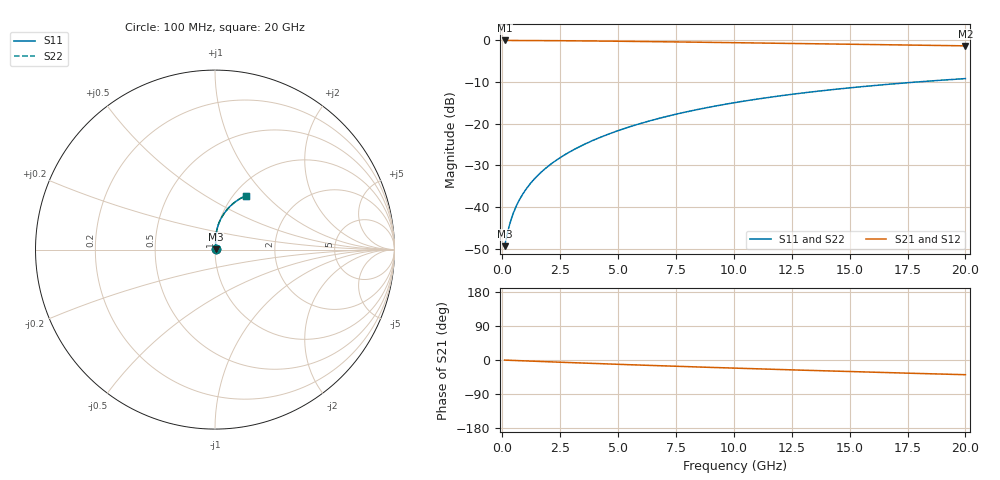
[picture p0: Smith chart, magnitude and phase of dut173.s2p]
! Touchstone file exported from HFSS 2024.1.0
!  File:  C:/UserFiles/LocalFiles/RDL_TSV_Batchsim/temp_RDL_top_173_1778685935.aedt
!  Generated:  11:28:04 PM May 13, 2026
!  Design:  RDL_top
!  Project:  temp_RDL_top_173_1778685935
!  Setup:  Setup1
!  Solution:  Sweep
! Variables:
!  dtsv = 10.80580581um
!  hbump = 3um
!  htsv = 99.63um
!  ldown = 100um
!  lrdl = 521.17um
!  p = 40
!  p1 = 57.31um
!  rhole = 1um
!  t = 450um
!  tdown = 3.915915916um
!  trdl = 2.65um
!  wdown = 15.38538539um
!  wrdl = 26.73um
# GHz S MA R 50.000000
! Terminal data exported
! Port[1] = Box2_T1
! Port[2] = Box2_T2
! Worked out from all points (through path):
!   200 points, 100 MHz to 20 GHz, reference 50 ohm
!   highest |S21| = -0.03 dB at 100 MHz (marker M1); lowest = -1.3 dB at 20 GHz (marker M2)
!   group delay of S21, straight-line fit = 5.34 ps
!   lowest |S11| = -49.4 dB at 100 MHz (marker M3), VSWR 1.01, Z = 50.3 + j0.174 ohm
!   |S11| at or under -10 dB: start of sweep to 17.89 GHz
!   |S22| runs from -49.4 to -9.2 dB; largest |S21 - S12| = 3.2e-15
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0.1  0.003387 30.7  0.9971 -0.2  0.9971 -0.2  0.003387 30.7
! Gamma 0 0 0 0
! Port Impedance 50 0 50 0
0.2  0.004558 48.3  0.9969 -0.5  0.9969 -0.5  0.004558 48.3
0.3  0.005932 57.7  0.9967 -0.7  0.9967 -0.7  0.005932 57.7
0.4  0.007349 63.3  0.9965 -1.0  0.9965 -1.0  0.007349 63.3
0.5  0.008771 67.1  0.9963 -1.2  0.9963 -1.2  0.008771 67.1
0.6  0.01019 70.0  0.9961 -1.5  0.9961 -1.5  0.01019 70.0
0.8  0.01306 74.0  0.9957 -1.9  0.9957 -1.9  0.01306 74.0
1.1  0.01744 78.0  0.9951 -2.6  0.9951 -2.6  0.01744 78.0
1.3  0.02042 79.8  0.9946 -3.1  0.9946 -3.1  0.02042 79.8
1.6  0.02496 81.8  0.9937 -3.8  0.9937 -3.8  0.02496 81.8
2.1  0.03273 83.9  0.992 -4.9  0.992 -4.9  0.03273 83.9
2.7  0.04237 85.4  0.9895 -6.3  0.9895 -6.3  0.04237 85.4
3.5  0.05578 86.3  0.9854 -8.1  0.9854 -8.1  0.05578 86.3
4.2  0.06799 86.5  0.9813 -9.7  0.9813 -9.7  0.06799 86.5
5  0.08245 86.2  0.9761 -11.4  0.9761 -11.4  0.08245 86.2
6.8  0.1164 84.3  0.9631 -15.2  0.9631 -15.2  0.1164 84.3
8.4  0.1473 81.8  0.9508 -18.3  0.9508 -18.3  0.1473 81.8
10.1  0.1801 78.7  0.9374 -21.6  0.9374 -21.6  0.1801 78.7
11.7  0.2103 75.6  0.9247 -24.6  0.9247 -24.6  0.2103 75.6
13.4  0.2413 72.3  0.9112 -27.6  0.9112 -27.6  0.2413 72.3
16.7  0.2974 66.0  0.885 -33.4  0.885 -33.4  0.2974 66.0
20  0.3476 60.1  0.8591 -38.8  0.8591 -38.8  0.3476 60.1
